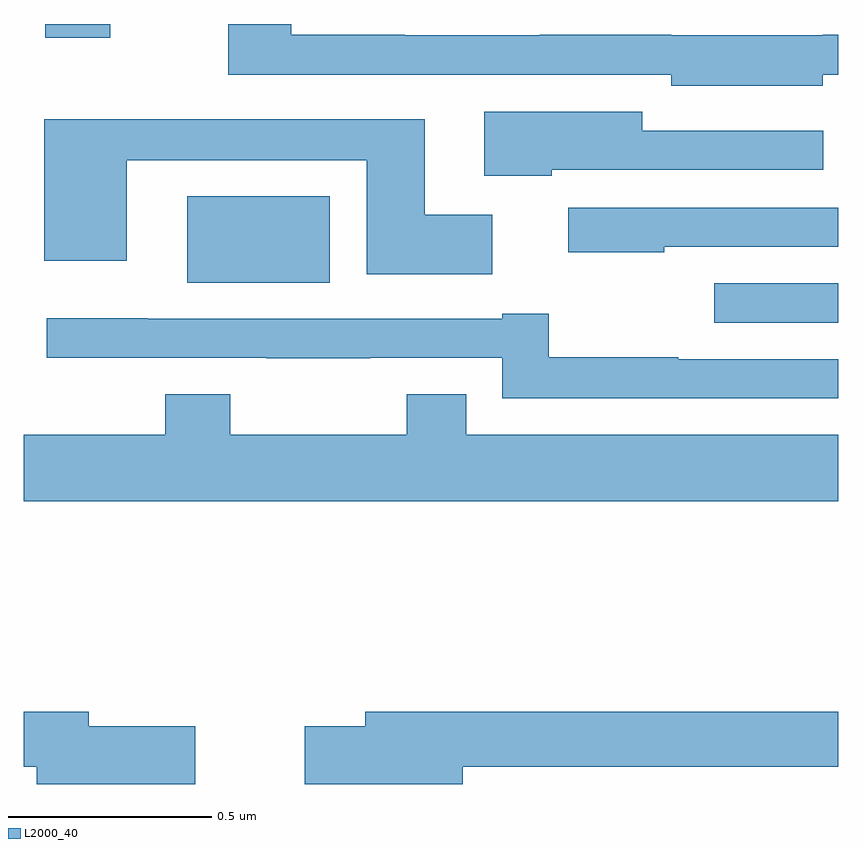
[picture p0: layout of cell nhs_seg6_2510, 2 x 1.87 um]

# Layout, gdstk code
import gdstk
lib = gdstk.Library(unit=1e-6, precision=1e-09)
def R(c, l, rs):  # rectangles x0, y0, x1, y1
    for r in rs: c.add(gdstk.rectangle(r[:2], r[2:], *l))
def P(c, l, *ps):  # polygons
    for p in ps: c.add(gdstk.Polygon(p, *l))
L2000_40 = (2000, 40)

nhs_seg6_2510 = lib.new_cell('nhs_seg6_2510')
R(nhs_seg6_2510, L2000_40, [(145.695,955.767,146,955.863), (144.401,955.865,144.751,956.077), (144.053,956.466,144.213,956.5)])
P(nhs_seg6_2510, L2000_40, [(145.962,956.376),(146,956.376),(146,956.474),(145.962,956.474),(145.962,956.472),(145.59,956.472),(145.59,956.474),(145.267,956.474),(145.267,956.472),(144.935,956.472),(144.935,956.474),(144.657,956.474),(144.657,956.5),(144.502,956.5),(144.502,956.376),(145.59,956.376),(145.59,956.348),(145.962,956.348)],
  [(145.296,956.142),(145.963,956.142),(145.963,956.238),(145.519,956.238),(145.519,956.284),(145.131,956.284),(145.131,956.127),(145.296,956.127)],
  [(145.15,956.032),(144.985,956.032),(144.985,956.266),(144.05,956.266),(144.05,955.919),(144.253,955.919),(144.253,956.165),(144.842,956.165),(144.842,955.886),(145.15,955.886)],
  [(145.573,955.953),(146,955.953),(146,956.049),(145.337,956.049),(145.337,955.94),(145.573,955.94)],
  [(146,955.677),(145.607,955.677),(145.607,955.682),(145.289,955.682),(145.289,955.789),(145.175,955.789),(145.175,955.776),(144.305,955.776),(144.305,955.777),(144.057,955.777),(144.057,955.68),(144.595,955.68),(144.595,955.679),(144.851,955.679),(144.851,955.68),(145.175,955.68),(145.175,955.581),(146,955.581)],
  [(146,955.492),(145.087,955.492),(145.087,955.591),(144.94,955.591),(144.94,955.492),(144.507,955.492),(144.507,955.591),(144.347,955.591),(144.347,955.492),(144,955.492),(144,955.328),(146,955.328)],
  [(145.078,954.676),(146,954.676),(146,954.812),(144.839,954.812),(144.839,954.776),(144.69,954.776),(144.69,954.634),(145.078,954.634)],
  [(144.421,954.776),(144.16,954.776),(144.16,954.812),(144,954.812),(144,954.676),(144.032,954.676),(144.032,954.634),(144.421,954.634)])

lib.write_gds('nhs_seg6_2510.gds')
